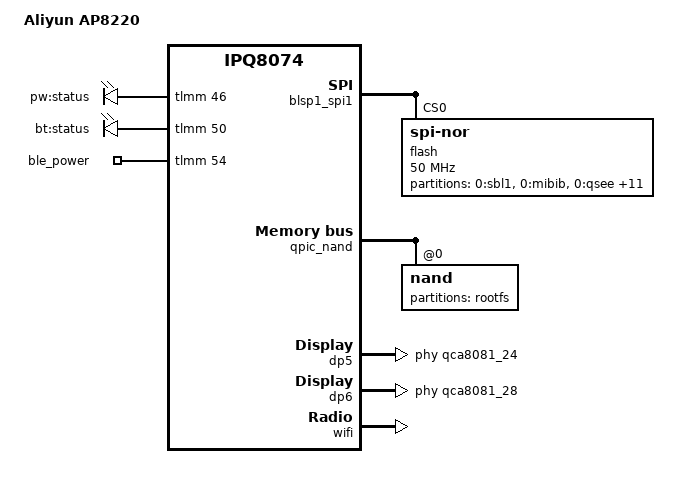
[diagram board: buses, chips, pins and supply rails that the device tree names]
// SPDX-License-Identifier: GPL-2.0-or-later OR MIT

/dts-v1/;

#include "ipq8071-edgecore.dtsi"

/ {
	model = "Aliyun AP8220";
	compatible = "aliyun,ap8220", "qcom,ipq8074";

	leds {
		compatible = "gpio-leds";

		led_pw: pw {
			label = "pw:status";
			gpios = <&tlmm 46 GPIO_ACTIVE_HIGH>;
		};

		led_bt: bt {
			label = "bt:status";
			gpios = <&tlmm 50 GPIO_ACTIVE_HIGH>;
		};
	};

	gpio-export {
		compatible = "gpio-export";

		ble-power {
			gpio-export,name = "ble_power";
			gpio-export,output = <1>;
			gpios = <&tlmm 54 GPIO_ACTIVE_HIGH>;
		};
	};
};

&blsp1_spi1 {
	status = "okay";

	flash@0 {
		compatible = "jedec,spi-nor";
		spi-max-frequency = <50000000>;
		reg = <0>;

		partitions {
			compatible = "fixed-partitions";
			#address-cells = <1>;
			#size-cells = <1>;

			partition@0 {
				label = "0:sbl1";
				reg = <0x00000000 0x00050000>;
			};

			partition@50000 {
				label = "0:mibib";
				reg = <0x00050000 0x00010000>;
			};

			partition@60000 {
				label = "0:qsee";
				reg = <0x00060000 0x00180000>;
			};

			partition@1e0000 {
				label = "0:devcfg";
				reg = <0x001e0000 0x00010000>;
			};

			partition@1f0000 {
				label = "0:apdp";
				reg = <0x001f0000 0x00010000>;
			};

			partition@200000 {
				label = "0:rpm";
				reg = <0x00200000 0x00040000>;
			};

			partition@240000 {
				label = "0:cdt";
				reg = <0x00240000 0x00010000>;
			};

			partition@250000 {
				label = "0:appsblenv";
				reg = <0x00250000 0x00010000>;
			};

			partition@260000 {
				label = "0:appsbl";
				reg = <0x00260000 0x000a0000>;
			};

			partition@300000 {
				label = "0:art";
				reg = <0x00300000 0x00040000>;
			};

			partition@340000 {
				label = "0:ethphyfw";
				reg = <0x00340000 0x00080000>;
			};

			partition@3c0000 {
				label = "product_info";
				reg = <0x003c0000 0x00010000>;
			};

			partition@3d0000 {
				label = "mtdoops";
				reg = <0x003d0000 0x00020000>;
			};

			partition@3f0000 {
				label = "priv_data1";
				reg = <0x003f0000 0x00010000>;
			};
		};
	};
};

&qpic_nand {
	status = "okay";

	partitions {
		status = "disabled";
	};

	nand@0 {
		reg = <0>;

		nand-ecc-strength = <4>;
		nand-ecc-step-size = <512>;
		nand-bus-width = <8>;

		partitions {
			compatible = "fixed-partitions";
			#address-cells = <1>;
			#size-cells = <1>;

			partition@0 {
				label = "rootfs";
				reg = <0x0 0x0>;
			};
		};
	};
};

&dp5 {
	status = "okay";
	phy-handle = <&qca8081_24>;
	label = "wan";
};

&dp6 {
	status = "okay";
	phy-handle = <&qca8081_28>;
	label = "lan";
};

&wifi {
	status = "okay";
	qcom,ath11k-fw-memory-mode = <1>;
	qcom,ath11k-calibration-variant = "Aliyun-AP8220";
};
